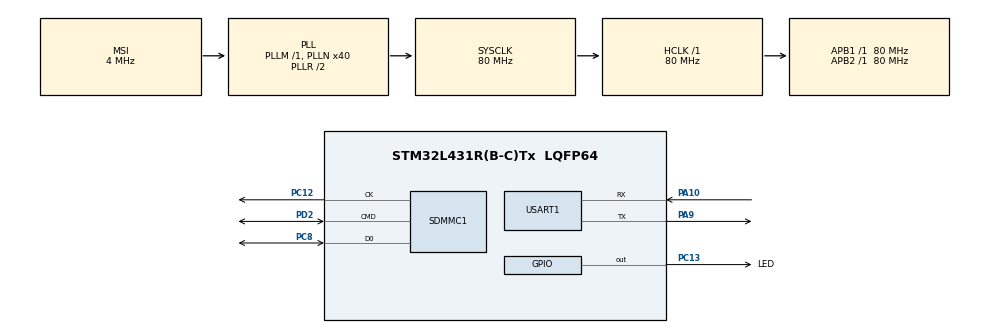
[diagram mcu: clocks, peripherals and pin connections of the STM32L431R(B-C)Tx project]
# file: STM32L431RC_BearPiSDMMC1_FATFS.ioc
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FATFS._CODE_PAGE=936
FATFS._USE_LFN=2
Mcu.Family=STM32L4
Mcu.Name=STM32L431R(B-C)Tx
Mcu.Package=LQFP64
NVIC.PriorityGroup=NVIC_PRIORITYGROUP_4
NVIC.SDMMC1_IRQn=true\:0\:0\:false\:false\:true\:true
PA10.Mode=Asynchronous
PA10.Signal=USART1_RX
PA9.Mode=Asynchronous
PA9.Signal=USART1_TX
PC12.Mode=SD_1_bit
PC12.Signal=SDMMC1_CK
PC13.GPIO_Label=LED
PC13.Signal=GPIO_Output
PC8.Mode=SD_1_bit
PC8.Signal=SDMMC1_D0
PD2.Mode=SD_1_bit
PD2.Signal=SDMMC1_CMD
ProjectManager.HeapSize=0x200
ProjectManager.StackSize=0x400
ProjectManager.TargetToolchain=MDK-ARM V5
RCC.ADCFreq_Value=48000000
RCC.AHBFreq_Value=80000000
RCC.APB1Freq_Value=80000000
RCC.APB1TimFreq_Value=80000000
RCC.APB2Freq_Value=80000000
RCC.APB2TimFreq_Value=80000000
RCC.CortexFreq_Value=80000000
RCC.HCLKFreq_Value=80000000
RCC.HSE_VALUE=8000000
RCC.HSI48_VALUE=48000000
RCC.HSI_VALUE=16000000
RCC.LSE_VALUE=32768
RCC.MSI_VALUE=4000000
RCC.PLLN=40
RCC.PLLSAI1N=24
RCC.PLLSAI1Q=RCC_PLLQ_DIV4
RCC.SYSCLKFreq_VALUE=80000000
RCC.SYSCLKSource=RCC_SYSCLKSOURCE_PLLCLK
RCC.VCOOutputFreq_Value=160000000
SDMMC1.ClockDiv=4
USART1.VirtualMode-Asynchronous=VM_ASYNC
VP_FATFS_VS_SDIO.Mode=SDIO
board=custom

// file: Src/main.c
/**
  ******************************************************************************
  * @file           : main.c
  * @brief          : Main program body
  ******************************************************************************
  * This notice applies to any and all portions of this file
  * that are not between comment pairs USER CODE BEGIN and
  * USER CODE END. Other portions of this file, whether
  * inserted by the user or by software development tools
  * are owned by their respective copyright owners.
  *
  * Copyright (c) 2019 STMicroelectronics International N.V.
  * All rights reserved.
  *
  * Redistribution and use in source and binary forms, with or without
  * modification, are permitted, provided that the following conditions are met:
  *
  * 1. Redistribution of source code must retain the above copyright notice,
  *    this list of conditions and the following disclaimer.
  * 2. Redistributions in binary form must reproduce the above copyright notice,
  *    this list of conditions and the following disclaimer in the documentation
  *    and/or other materials provided with the distribution.
  * 3. Neither the name of STMicroelectronics nor the names of other
  *    contributors to this software may be used to endorse or promote products
  *    derived from this software without specific written permission.
  * 4. This software, including modifications and/or derivative works of this
  *    software, must execute solely and exclusively on microcontroller or
  *    microprocessor devices manufactured by or for STMicroelectronics.
  * 5. Redistribution and use of this software other than as permitted under
  *    this license is void and will automatically terminate your rights under
  *    this license.
  *
  * THIS SOFTWARE IS PROVIDED BY STMICROELECTRONICS AND CONTRIBUTORS "AS IS"
  * AND ANY EXPRESS, IMPLIED OR STATUTORY WARRANTIES, INCLUDING, BUT NOT
  * LIMITED TO, THE IMPLIED WARRANTIES OF MERCHANTABILITY, FITNESS FOR A
  * PARTICULAR PURPOSE AND NON-INFRINGEMENT OF THIRD PARTY INTELLECTUAL PROPERTY
  * RIGHTS ARE DISCLAIMED TO THE FULLEST EXTENT PERMITTED BY LAW. IN NO EVENT
  * SHALL STMICROELECTRONICS OR CONTRIBUTORS BE LIABLE FOR ANY DIRECT, INDIRECT,
  * INCIDENTAL, SPECIAL, EXEMPLARY, OR CONSEQUENTIAL DAMAGES (INCLUDING, BUT NOT
  * LIMITED TO, PROCUREMENT OF SUBSTITUTE GOODS OR SERVICES; LOSS OF USE, DATA,
  * OR PROFITS; OR BUSINESS INTERRUPTION) HOWEVER CAUSED AND ON ANY THEORY OF
  * LIABILITY, WHETHER IN CONTRACT, STRICT LIABILITY, OR TORT (INCLUDING
  * NEGLIGENCE OR OTHERWISE) ARISING IN ANY WAY OUT OF THE USE OF THIS SOFTWARE,
  * EVEN IF ADVISED OF THE POSSIBILITY OF SUCH DAMAGE.
  *
  ******************************************************************************
  */
#include "main.h"
#include "stm32l4xx_hal.h"
#include "fatfs.h"
#include "sdmmc.h"
#include "usart.h"
#include "gpio.h"

/* USER CODE BEGIN Includes */
#include "stdio.h"
/* USER CODE END Includes */

/* USER CODE BEGIN PV */
/* Private variables ---------------------------------------------------------*/
void SD_FatFs_OpenReadFileTest(TCHAR const* OpenOrCreatTXTFileName,BYTE* WriteData,uint8_t Size);
uint8_t  f_GetTotal_Free(uint8_t *drv,uint32_t *total,uint32_t *free);
FATFS fs;	// FatFs文件系统对象
FIL file;	// 文件对象
FRESULT f_res;     //文件操作结果
UINT fnum;       // 文件成功读写数量
BYTE ReadBuffer[1024]={0};        // 读缓冲区
TCHAR TXTFileName[]="小熊派开发板SD卡FATFS文件系统测试.txt";
BYTE WriteDataToTXT[]= "欢迎使用物联网小熊派开发板,本教程是SD卡FATFS文件系统实验";//写缓冲区
/* USER CODE END PV */

void SystemClock_Config(void);

/* USER CODE BEGIN PFP */
/* Private function prototypes -----------------------------------------------*/

/* USER CODE END PFP */

int main(void)
{
  /* USER CODE BEGIN 1 */
uint32_t Total=0;//读取SD卡总容量
uint32_t Free=0;//读取SD卡剩余容量

  /* USER CODE END 1 */

  /* MCU Configuration----------------------------------------------------------*/

  /* Reset of all peripherals, Initializes the Flash interface and the Systick. */
  HAL_Init();

  /* Configure the system clock */
  SystemClock_Config();

  /* Initialize all configured peripherals */
  MX_GPIO_Init();
  MX_SDMMC1_SD_Init();
  MX_USART1_UART_Init();
  MX_FATFS_Init();
  /* USER CODE BEGIN 2 */
	printf("***********Test fatfs of SD card**********\r\n");
	f_GetTotal_Free((uint8_t*)"0:",&Total,&Free);//获取SD卡总容量和剩余容量
	printf("Total:%dKB=%0.2fGB,free:%dKB=%0.2fGB\r\n", Total, (float)Total/1024/1024, Free,(float)Free/1024/1024);
	SD_FatFs_OpenReadFileTest(TXTFileName,WriteDataToTXT,sizeof(WriteDataToTXT));//打开文件并写入数据和读取数据
  /* USER CODE END 2 */

  /* Infinite loop */
  while (1)
  {
 HAL_GPIO_TogglePin(LED_GPIO_Port,LED_Pin);
 HAL_Delay(1000);
  }

}

void SystemClock_Config(void)
{

  RCC_OscInitTypeDef RCC_OscInitStruct;
  RCC_ClkInitTypeDef RCC_ClkInitStruct;
  RCC_PeriphCLKInitTypeDef PeriphClkInit;

    /**Initializes the CPU, AHB and APB busses clocks
    */
  RCC_OscInitStruct.OscillatorType = RCC_OSCILLATORTYPE_MSI;
  RCC_OscInitStruct.MSIState = RCC_MSI_ON;
  RCC_OscInitStruct.MSICalibrationValue = 0;
  RCC_OscInitStruct.MSIClockRange = RCC_MSIRANGE_6;
  RCC_OscInitStruct.PLL.PLLState = RCC_PLL_ON;
  RCC_OscInitStruct.PLL.PLLSource = RCC_PLLSOURCE_MSI;
  RCC_OscInitStruct.PLL.PLLM = 1;
  RCC_OscInitStruct.PLL.PLLN = 40;
  RCC_OscInitStruct.PLL.PLLP = RCC_PLLP_DIV7;
  RCC_OscInitStruct.PLL.PLLQ = RCC_PLLQ_DIV2;
  RCC_OscInitStruct.PLL.PLLR = RCC_PLLR_DIV2;
  if (HAL_RCC_OscConfig(&RCC_OscInitStruct) != HAL_OK)
  {
    _Error_Handler(__FILE__, __LINE__);
  }

    /**Initializes the CPU, AHB and APB busses clocks
    */
  RCC_ClkInitStruct.ClockType = RCC_CLOCKTYPE_HCLK|RCC_CLOCKTYPE_SYSCLK
                              |RCC_CLOCKTYPE_PCLK1|RCC_CLOCKTYPE_PCLK2;
  RCC_ClkInitStruct.SYSCLKSource = RCC_SYSCLKSOURCE_PLLCLK;
  RCC_ClkInitStruct.AHBCLKDivider = RCC_SYSCLK_DIV1;
  RCC_ClkInitStruct.APB1CLKDivider = RCC_HCLK_DIV1;
  RCC_ClkInitStruct.APB2CLKDivider = RCC_HCLK_DIV1;

  if (HAL_RCC_ClockConfig(&RCC_ClkInitStruct, FLASH_LATENCY_4) != HAL_OK)
  {
    _Error_Handler(__FILE__, __LINE__);
  }

  PeriphClkInit.PeriphClockSelection = RCC_PERIPHCLK_USART1|RCC_PERIPHCLK_SDMMC1;
  PeriphClkInit.Usart1ClockSelection = RCC_USART1CLKSOURCE_PCLK2;
  PeriphClkInit.Sdmmc1ClockSelection = RCC_SDMMC1CLKSOURCE_PLLSAI1;
  PeriphClkInit.PLLSAI1.PLLSAI1Source = RCC_PLLSOURCE_MSI;
  PeriphClkInit.PLLSAI1.PLLSAI1M = 1;
  PeriphClkInit.PLLSAI1.PLLSAI1N = 24;
  PeriphClkInit.PLLSAI1.PLLSAI1P = RCC_PLLP_DIV7;
  PeriphClkInit.PLLSAI1.PLLSAI1Q = RCC_PLLQ_DIV4;
  PeriphClkInit.PLLSAI1.PLLSAI1R = RCC_PLLR_DIV2;
  PeriphClkInit.PLLSAI1.PLLSAI1ClockOut = RCC_PLLSAI1_48M2CLK;
  if (HAL_RCCEx_PeriphCLKConfig(&PeriphClkInit) != HAL_OK)
  {
    _Error_Handler(__FILE__, __LINE__);
  }

    /**Configure the main internal regulator output voltage
    */
  if (HAL_PWREx_ControlVoltageScaling(PWR_REGULATOR_VOLTAGE_SCALE1) != HAL_OK)
  {
    _Error_Handler(__FILE__, __LINE__);
  }

    /**Configure the Systick interrupt time
    */
  HAL_SYSTICK_Config(HAL_RCC_GetHCLKFreq()/1000);

    /**Configure the Systick
    */
  HAL_SYSTICK_CLKSourceConfig(SYSTICK_CLKSOURCE_HCLK);

  /* SysTick_IRQn interrupt configuration */
  HAL_NVIC_SetPriority(SysTick_IRQn, 0, 0);
}

/* USER CODE BEGIN 4 */

uint8_t f_GetTotal_Free(uint8_t *drv,uint32_t *total,uint32_t *free)
 {
     FATFS *fs1;
     uint8_t res;
     DWORD fre_clust=0, fre_sect=0, tot_sect=0;
     f_res = f_mount(fs1,(TCHAR const*)SDPath,1);
     res = f_getfree((const TCHAR*)drv, &fre_clust, &fs1);//得到磁盘信息及空闲簇数量
     if(res==0)
     {
         tot_sect=(fs1->n_fatent-2)*fs1->csize;    //得到总扇区数
         fre_sect=fre_clust*fs1->csize;            //得到空闲扇区数
         #if _MAX_SS!=512                                  //扇区大小不是512字节,则转换为512字节
             tot_sect*=fs1->ssize/512;
             fre_sect*=fs1->ssize/512;
         #endif
         *total=tot_sect>>1;    //单位为KB
         *free=fre_sect>>1;    //单位为KB
      }
     f_res = f_mount(NULL,(TCHAR const*)SDPath,1);	// 不再使用，取消挂载
     return res;
}
void SD_FatFs_OpenReadFileTest(TCHAR const* OpenOrCreatTXTFileName,BYTE* WriteData,uint8_t Size)
{
 if(retSD == 0)
  {
   f_res = f_mount(&fs,(TCHAR const*)SDPath,1);//挂载时会对SD卡初始化
   f_res = f_open(&file, OpenOrCreatTXTFileName,FA_CREATE_ALWAYS | FA_WRITE );
    if ( f_res == FR_OK )
    {
      f_res=f_write(&file,WriteData,Size,&fnum);
      if(f_res==FR_OK)
      printf("Write dat to SD file %s success！\r\n",OpenOrCreatTXTFileName);
      f_close(&file); // 不再读写，关闭文件
    }
 else printf("Open or creat SD file %s fail！\r\n",OpenOrCreatTXTFileName);
    f_res = f_open(&file, OpenOrCreatTXTFileName, FA_OPEN_EXISTING | FA_READ);
    if(f_res == FR_OK)
    {
        f_res = f_read(&file, ReadBuffer, sizeof(ReadBuffer), &fnum);
        if(f_res==FR_OK)
        printf("Read data from SD file %s：\r\n%s \r\n",OpenOrCreatTXTFileName, ReadBuffer);
         f_close(&file); // 不再读写，关闭文件
    }
      else printf("Open or creat SD file %s fail！\r\n",OpenOrCreatTXTFileName);
    f_res = f_mount(NULL,(TCHAR const*)SDPath,1);	// 不再使用，取消挂载
    FATFS_UnLinkDriver(SDPath);// 注销一个FatFs设备
   }
}

/* USER CODE END 4 */

void _Error_Handler(char *file, int line)
{
  while(1)
  {
  }
}

/************************ (C) COPYRIGHT STMicroelectronics *****END OF FILE****/
